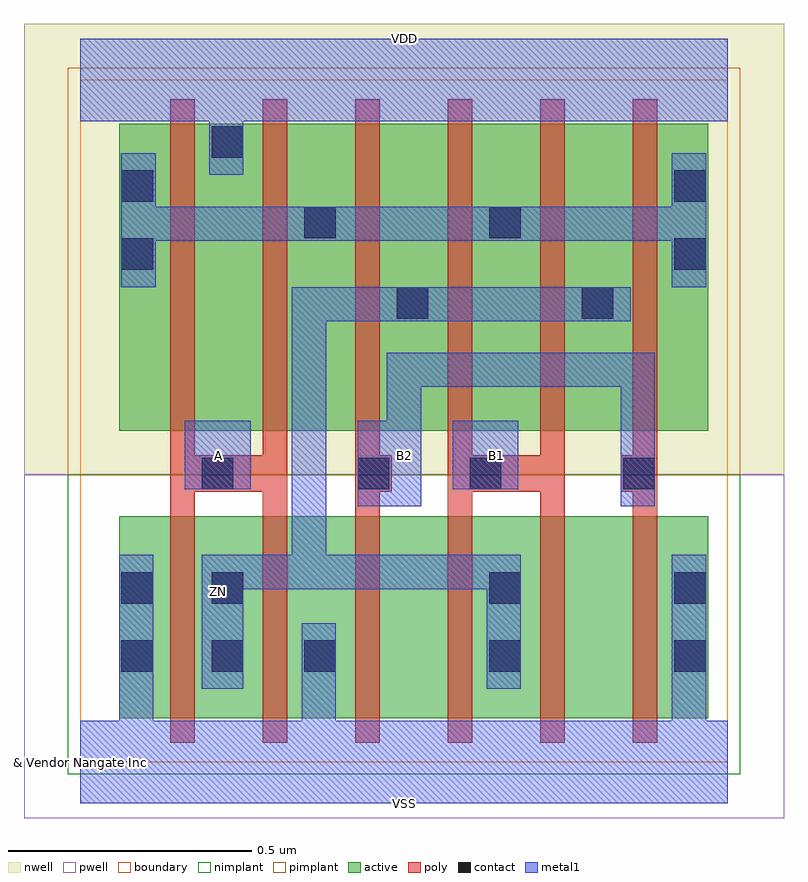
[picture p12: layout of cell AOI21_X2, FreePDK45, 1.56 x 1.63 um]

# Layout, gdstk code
import gdstk
lib = gdstk.Library(unit=1e-6, precision=1e-10)
def R(c, l, rs):  # rectangles x0, y0, x1, y1
    for r in rs: c.add(gdstk.rectangle(r[:2], r[2:], *l))
def A(c, l, x, y, w, h, nx, ny, dx, dy):  # array of equal rectangles
    R(c, l, [(x+i*dx, y+j*dy, x+i*dx+w, y+j*dy+h) for i in range(nx) for j in range(ny)])
def P(c, l, *ps):  # polygons
    for p in ps: c.add(gdstk.Polygon(p, *l))
active = (1, 0)
pwell = (2, 0)
nwell = (3, 0)
nimplant = (4, 0)
pimplant = (5, 0)
poly = (9, 0)
contact = (10, 0)
metal1 = (11, 0)
boundary = (235, 0)

aoi21_x2 = lib.new_cell('AOI21_X2')
R(aoi21_x2, active, [(0.08,0.09,1.29,0.505), (0.08,0.68,1.29,1.31)])
R(aoi21_x2, pwell, [(-0.115,-0.115,1.445,0.59)])
R(aoi21_x2, nwell, [(-0.115,0.59,1.445,1.515)])
R(aoi21_x2, nimplant, [(-0.025,-0.025,1.355,0.59)])
R(aoi21_x2, pimplant, [(-0.025,0.59,1.355,1.425)])
P(aoi21_x2, poly, [(0.185,0.04),(0.185,1.36),(0.235,1.36),(0.235,0.63),(0.375,0.63),(0.375,1.36),(0.425,1.36),(0.425,0.04),(0.375,0.04),(0.375,0.555),(0.235,0.555),(0.235,0.04)],
  [(0.565,0.04),(0.565,1.36),(0.615,1.36),(0.615,0.63),(0.64,0.63),(0.64,0.555),(0.615,0.555),(0.615,0.04)],
  [(0.755,0.04),(0.755,1.36),(0.805,1.36),(0.805,0.63),(0.945,0.63),(0.945,1.36),(0.995,1.36),(0.995,0.04),(0.945,0.04),(0.945,0.555),(0.805,0.555),(0.805,0.04)],
  [(1.135,0.04),(1.135,0.555),(1.11,0.555),(1.11,0.63),(1.135,0.63),(1.135,1.36),(1.185,1.36),(1.185,0.04)])
A(aoi21_x2, contact, 0.46, 0.185, 0.065, 0.065, 3, 1, 0.38, 0)
R(aoi21_x2, contact, [(0.085,0.185,0.15,0.25), (0.27,0.185,0.335,0.25), (0.085,0.325,0.15,0.39), (0.27,0.325,0.335,0.39), (0.84,0.325,0.905,0.39), (1.22,0.325,1.285,0.39), (0.25,0.56,0.315,0.625), (0.57,0.56,0.635,0.625), (0.8,0.56,0.865,0.625), (1.115,0.56,1.18,0.625), (0.65,0.91,0.715,0.975), (1.03,0.91,1.095,0.975), (0.085,1.01,0.15,1.075), (1.22,1.01,1.285,1.075), (0.46,1.075,0.525,1.14), (0.84,1.075,0.905,1.14), (0.085,1.15,0.15,1.215), (1.22,1.15,1.285,1.215), (0.27,1.24,0.335,1.305)])
R(aoi21_x2, metal1, [(0.215,0.56,0.35,0.7), (0.765,0.56,0.9,0.7)])
P(aoi21_x2, metal1, [(0.25,0.15),(0.25,0.425),(0.435,0.425),(0.435,0.975),(1.13,0.975),(1.13,0.905),(0.505,0.905),(0.505,0.425),(0.905,0.425),(0.905,0.15),(0.835,0.15),(0.835,0.355),(0.335,0.355),(0.335,0.15)],
  [(0.57,0.525),(0.57,0.7),(0.63,0.7),(0.63,0.84),(1.18,0.84),(1.18,0.525),(1.11,0.525),(1.11,0.77),(0.7,0.77),(0.7,0.525)],
  [(0.085,0.975),(0.085,1.25),(0.155,1.25),(0.155,1.14),(1.215,1.14),(1.215,1.25),(1.285,1.25),(1.285,0.975),(1.215,0.975),(1.215,1.07),(0.155,1.07),(0.155,0.975)],
  [(0,-0.085),(0,0.085),(0.08,0.085),(0.08,0.425),(0.15,0.425),(0.15,0.085),(0.455,0.085),(0.455,0.285),(0.525,0.285),(0.525,0.085),(1.215,0.085),(1.215,0.425),(1.285,0.425),(1.285,0.085),(1.33,0.085),(1.33,-0.085)],
  [(0.265,1.205),(0.265,1.315),(0,1.315),(0,1.485),(1.33,1.485),(1.33,1.315),(0.335,1.315),(0.335,1.205)])
R(aoi21_x2, boundary, [(0,0,1.33,1.4)])
aoi21_x2.add(gdstk.Label('A', (0.285,0.63), layer=11, texttype=0))
aoi21_x2.add(gdstk.Label('B1', (0.855,0.63), layer=11, texttype=0))
aoi21_x2.add(gdstk.Label('B2', (0.665,0.63), layer=11, texttype=0))
aoi21_x2.add(gdstk.Label('VDD', (0.665,1.485), layer=11, texttype=0))
aoi21_x2.add(gdstk.Label('VSS', (0.665,-0.085), layer=11, texttype=0))
aoi21_x2.add(gdstk.Label('ZN', (0.285,0.35), layer=11, texttype=0))
aoi21_x2.add(gdstk.Label('& Vendor Nangate Inc', (0,0), layer=63, texttype=63))
aoi21_x2.add(gdstk.Label('& Product Open Cell Library', (0,0), layer=63, texttype=63))
aoi21_x2.add(gdstk.Label('& Version 2010_12', (0,0), layer=63, texttype=63))
aoi21_x2.add(gdstk.Label('& Instance AOI21_X2', (0,0), layer=63, texttype=63))

lib.write_gds('AOI21_X2.gds')
